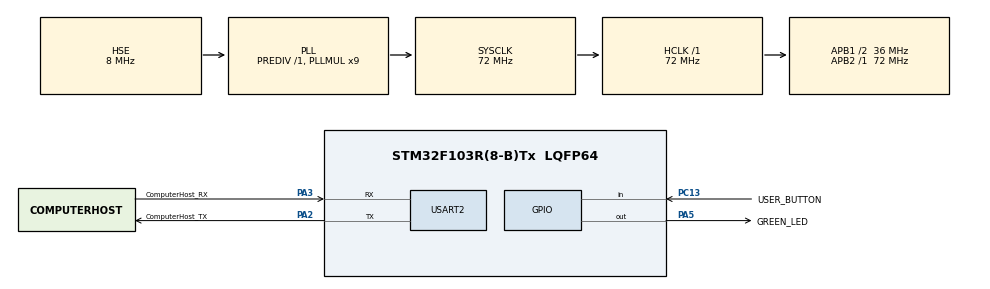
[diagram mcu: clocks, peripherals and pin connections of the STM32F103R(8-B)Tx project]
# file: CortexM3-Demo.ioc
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Mcu.Family=STM32F1
Mcu.Name=STM32F103R(8-B)Tx
Mcu.Package=LQFP64
NVIC.PriorityGroup=NVIC_PRIORITYGROUP_4
NVIC.USART2_IRQn=true\:0\:0\:false\:false\:true\:true\:true
PA13.GPIO_Label=TMS
PA13.Mode=Serial_Wire
PA13.Signal=SYS_JTMS-SWDIO
PA14.GPIO_Label=TCK
PA14.Mode=Serial_Wire
PA14.Signal=SYS_JTCK-SWCLK
PA2.GPIO_Label=ComputerHost_TX
PA2.GPIO_Mode=GPIO_MODE_AF_PP
PA2.GPIO_PuPd=GPIO_NOPULL
PA2.GPIO_Speed=GPIO_SPEED_FREQ_LOW
PA2.Mode=Asynchronous
PA2.Signal=USART2_TX
PA3.GPIO_Label=ComputerHost_RX
PA3.GPIO_Mode=GPIO_MODE_AF_PP
PA3.GPIO_PuPd=GPIO_NOPULL
PA3.GPIO_Speed=GPIO_SPEED_FREQ_LOW
PA3.Mode=Asynchronous
PA3.Signal=USART2_RX
PA5.GPIO_Label=GREEN_LED
PA5.GPIO_ModeDefaultOutputPP=GPIO_MODE_OUTPUT_PP
PA5.GPIO_PuPd=GPIO_NOPULL
PA5.GPIO_Speed=GPIO_SPEED_FREQ_LOW
PA5.Signal=GPIO_Output
PB3.GPIO_Label=SWO
PB3.Signal=SYS_JTDO-TRACESWO
PC13-TAMPER-RTC.GPIO_Label=USER_BUTTON
PC13-TAMPER-RTC.GPIO_PuPd=GPIO_NOPULL
PC13-TAMPER-RTC.Signal=GPIO_Input
PC14-OSC32_IN.Mode=LSE-External-Oscillator
PC14-OSC32_IN.Signal=RCC_OSC32_IN
PC15-OSC32_OUT.Mode=LSE-External-Oscillator
PC15-OSC32_OUT.Signal=RCC_OSC32_OUT
PD0-OSC_IN.Mode=HSE-External-Clock-Source
PD0-OSC_IN.Signal=RCC_OSC_IN
PD1-OSC_OUT.Mode=HSE-External-Clock-Source
PD1-OSC_OUT.Signal=RCC_OSC_OUT
ProjectManager.HeapSize=0x200
ProjectManager.StackSize=0x400
ProjectManager.TargetToolchain=MDK-ARM V5
RCC.AHBFreq_Value=72000000
RCC.APB1CLKDivider=RCC_HCLK_DIV2
RCC.APB1Freq_Value=36000000
RCC.APB1TimFreq_Value=72000000
RCC.APB2Freq_Value=72000000
RCC.APB2TimFreq_Value=72000000
RCC.HCLKFreq_Value=72000000
RCC.PLLMUL=RCC_PLL_MUL9
RCC.PLLSourceVirtual=RCC_PLLSOURCE_HSE
RCC.RTCClockSelection=RCC_RTCCLKSOURCE_LSE
RCC.SYSCLKFreq_VALUE=72000000
RCC.SYSCLKSource=RCC_SYSCLKSOURCE_PLLCLK
RCC.USBFreq_Value=72000000
USART2.VirtualMode=VM_ASYNC
board=NUCLEO-F103RB

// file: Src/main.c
/* USER CODE BEGIN Header */
/**
  ******************************************************************************
  * @file           : main.c
  * @brief          : Main program body
	* @author         : Chan Tai Wing Vincent
	* @content        : M3 Demo - USART Transmit and Recieve (Interrupt)
	* @version        : Tutorial 3
  ******************************************************************************
  * @attention
  * This program is written for STM32F103RB Nucleo Board. This program is to
  * demonstrate how to control the built in LED (ON/OFF) by the USART message
  * which controlled by RX interrupt. Also, send USART message to another deivce.
  *
  ******************************************************************************
  */
/* USER CODE END Header */

#include "main.h"

/* USER CODE BEGIN Includes */
#define TRUE 1
#define FALSE 0
/* USER CODE END Includes */

UART_HandleTypeDef huart2;

/* USER CODE BEGIN PV */
int LED_ON = FALSE;
unsigned char USART_RX_BUFFER[3];
unsigned char SYSTEM_START[] = "WELCEOM TO STM32F103RBT6 !\r\n";
/* USER CODE END PV */

void SystemClock_Config(void);
static void MX_GPIO_Init(void);
static void MX_USART2_UART_Init(void);

int main(void)
{

  /* MCU Configuration--------------------------------------------------------*/

  /* Reset of all peripherals, Initializes the Flash interface and the Systick. */
  HAL_Init();

  /* Configure the system clock */
  SystemClock_Config();

  /* Initialize all configured peripherals */
  MX_GPIO_Init();
  MX_USART2_UART_Init();
  /* USER CODE BEGIN 2 */
  HAL_UART_Transmit(&huart2,SYSTEM_START,sizeof(SYSTEM_START)-1,300); //Ask USART2 to send message and timeout = 300ms
	HAL_UART_Receive_IT(&huart2,USART_RX_BUFFER,sizeof(USART_RX_BUFFER)); //Indicate USART2 to have RX interrupt
  /* USER CODE END 2 */

  /* Infinite loop */
  /* USER CODE BEGIN WHILE */
  while (1)
  {
		if(LED_ON == TRUE)       //Check whether "LED" is received
		{
			HAL_GPIO_WritePin(GREEN_LED_GPIO_Port,GREEN_LED_Pin,GPIO_PIN_SET);                //LED ON
		}else{
			     HAL_GPIO_WritePin(GREEN_LED_GPIO_Port,GREEN_LED_Pin,GPIO_PIN_RESET);         //LED OFF
		     }
    /* USER CODE END WHILE */

  }
}

void SystemClock_Config(void)
{
  RCC_OscInitTypeDef RCC_OscInitStruct = {0};
  RCC_ClkInitTypeDef RCC_ClkInitStruct = {0};

  /** Initializes the CPU, AHB and APB busses clocks
  */
  RCC_OscInitStruct.OscillatorType = RCC_OSCILLATORTYPE_HSE;
  RCC_OscInitStruct.HSEState = RCC_HSE_BYPASS;
  RCC_OscInitStruct.HSEPredivValue = RCC_HSE_PREDIV_DIV1;
  RCC_OscInitStruct.HSIState = RCC_HSI_ON;
  RCC_OscInitStruct.PLL.PLLState = RCC_PLL_ON;
  RCC_OscInitStruct.PLL.PLLSource = RCC_PLLSOURCE_HSE;
  RCC_OscInitStruct.PLL.PLLMUL = RCC_PLL_MUL9;
  if (HAL_RCC_OscConfig(&RCC_OscInitStruct) != HAL_OK)
  {
    Error_Handler();
  }
  /** Initializes the CPU, AHB and APB busses clocks
  */
  RCC_ClkInitStruct.ClockType = RCC_CLOCKTYPE_HCLK|RCC_CLOCKTYPE_SYSCLK
                              |RCC_CLOCKTYPE_PCLK1|RCC_CLOCKTYPE_PCLK2;
  RCC_ClkInitStruct.SYSCLKSource = RCC_SYSCLKSOURCE_PLLCLK;
  RCC_ClkInitStruct.AHBCLKDivider = RCC_SYSCLK_DIV1;
  RCC_ClkInitStruct.APB1CLKDivider = RCC_HCLK_DIV2;
  RCC_ClkInitStruct.APB2CLKDivider = RCC_HCLK_DIV1;

  if (HAL_RCC_ClockConfig(&RCC_ClkInitStruct, FLASH_LATENCY_2) != HAL_OK)
  {
    Error_Handler();
  }
}

static void MX_USART2_UART_Init(void)
{

  huart2.Instance = USART2;
  huart2.Init.BaudRate = 115200;
  huart2.Init.WordLength = UART_WORDLENGTH_8B;
  huart2.Init.StopBits = UART_STOPBITS_1;
  huart2.Init.Parity = UART_PARITY_NONE;
  huart2.Init.Mode = UART_MODE_TX_RX;
  huart2.Init.HwFlowCtl = UART_HWCONTROL_NONE;
  huart2.Init.OverSampling = UART_OVERSAMPLING_16;
  if (HAL_UART_Init(&huart2) != HAL_OK)
  {
    Error_Handler();
  }

}

static void MX_GPIO_Init(void)
{
  GPIO_InitTypeDef GPIO_InitStruct = {0};

  /* GPIO Ports Clock Enable */
  __HAL_RCC_GPIOC_CLK_ENABLE();
  __HAL_RCC_GPIOD_CLK_ENABLE();
  __HAL_RCC_GPIOA_CLK_ENABLE();
  __HAL_RCC_GPIOB_CLK_ENABLE();

  /*Configure GPIO pin Output Level */
  HAL_GPIO_WritePin(GREEN_LED_GPIO_Port, GREEN_LED_Pin, GPIO_PIN_RESET);

  /*Configure GPIO pin : USER_BUTTON_Pin */
  GPIO_InitStruct.Pin = USER_BUTTON_Pin;
  GPIO_InitStruct.Mode = GPIO_MODE_INPUT;
  GPIO_InitStruct.Pull = GPIO_NOPULL;
  HAL_GPIO_Init(USER_BUTTON_GPIO_Port, &GPIO_InitStruct);

  /*Configure GPIO pin : GREEN_LED_Pin */
  GPIO_InitStruct.Pin = GREEN_LED_Pin;
  GPIO_InitStruct.Mode = GPIO_MODE_OUTPUT_PP;
  GPIO_InitStruct.Pull = GPIO_NOPULL;
  GPIO_InitStruct.Speed = GPIO_SPEED_FREQ_LOW;
  HAL_GPIO_Init(GREEN_LED_GPIO_Port, &GPIO_InitStruct);

}

/* USER CODE BEGIN 4 */
void HAL_UART_RxCpltCallback(UART_HandleTypeDef *huart)  //USART Receive Interrupt
{
	if (huart == &huart2)  //Decide what should USART2 do when message is received
	{
		if((USART_RX_BUFFER[0] == 'L')&&(USART_RX_BUFFER[1] == 'E')&&(USART_RX_BUFFER[2] == 'D'))  //Must receive "LED" to change the state of LED
		{
			if(LED_ON == FALSE)
			{
				LED_ON = TRUE;
			}else{
				     LED_ON = FALSE;
			     }
    }
	  HAL_UART_Receive_IT(&huart2,USART_RX_BUFFER,sizeof(USART_RX_BUFFER)); //Indicate USART2 to have RX interrupt
	}
}
/* USER CODE END 4 */

void Error_Handler(void)
{
}

/************************ (C) COPYRIGHT STMicroelectronics *****END OF FILE****/
